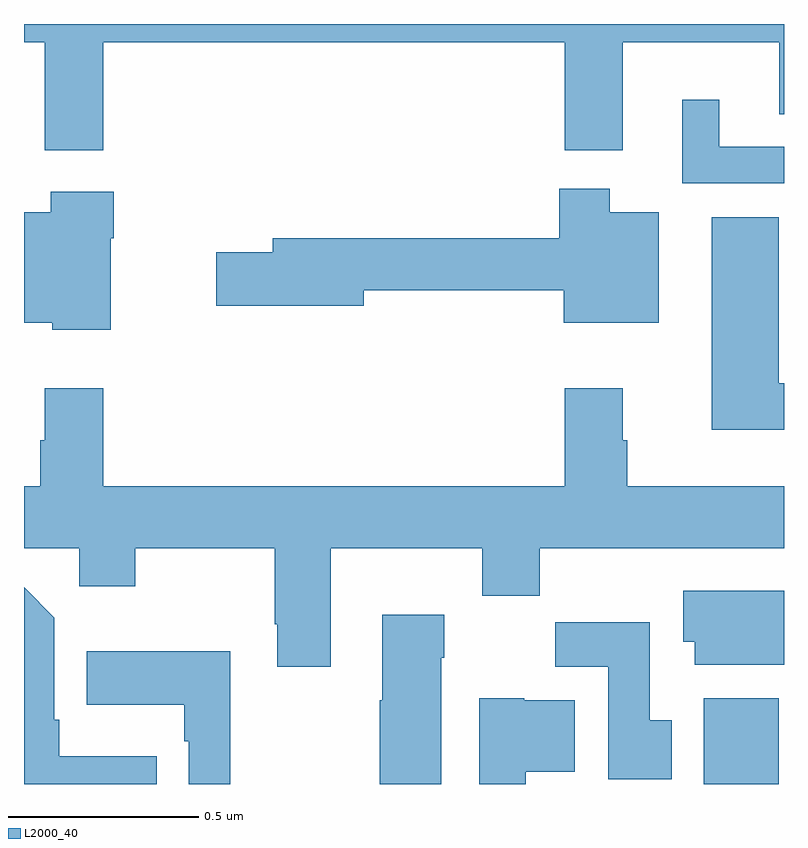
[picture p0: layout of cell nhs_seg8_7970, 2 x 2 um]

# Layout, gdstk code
import gdstk
lib = gdstk.Library(unit=1e-6, precision=1e-09)
def R(c, l, rs):  # rectangles x0, y0, x1, y1
    for r in rs: c.add(gdstk.rectangle(r[:2], r[2:], *l))
def P(c, l, *ps):  # polygons
    for p in ps: c.add(gdstk.Polygon(p, *l))
L2000_40 = (2000, 40)

nhs_seg8_7970 = lib.new_cell('nhs_seg8_7970')
R(nhs_seg8_7970, L2000_40, [(218.789,1095.9,218.986,1096.126)])
P(nhs_seg8_7970, L2000_40, [(217.208,1097.852),(218.423,1097.852),(218.423,1097.568),(218.575,1097.568),(218.575,1097.852),(218.987,1097.852),(218.987,1097.662),(219,1097.662),(219,1097.9),(217,1097.9),(217,1097.852),(217.055,1097.852),(217.055,1097.568),(217.208,1097.568)],
  [(219,1097.577),(218.83,1097.577),(218.83,1097.701),(218.732,1097.701),(218.732,1097.481),(219,1097.481)],
  [(218.671,1097.404),(218.542,1097.404),(218.542,1097.467),(218.408,1097.467),(218.408,1097.336),(217.655,1097.336),(217.655,1097.3),(217.506,1097.3),(217.506,1097.158),(217.894,1097.158),(217.894,1097.2),(218.42,1097.2),(218.42,1097.114),(218.671,1097.114)],
  [(217.228,1097.336),(217.236,1097.336),(217.236,1097.458),(217.07,1097.458),(217.07,1097.404),(217,1097.404),(217,1097.114),(217.074,1097.114),(217.074,1097.096),(217.228,1097.096)],
  [(219,1096.954),(218.986,1096.954),(218.986,1097.392),(218.81,1097.392),(218.81,1096.832),(219,1096.832)],
  [(217.055,1096.942),(217.055,1096.805),(217.043,1096.805),(217.043,1096.684),(217,1096.684),(217,1096.52),(217.146,1096.52),(217.146,1096.421),(217.293,1096.421),(217.293,1096.52),(217.66,1096.52),(217.66,1096.321),(217.667,1096.321),(217.667,1096.209),(217.807,1096.209),(217.807,1096.52),(218.206,1096.52),(218.206,1096.396),(218.357,1096.396),(218.357,1096.52),(219,1096.52),(219,1096.684),(218.588,1096.684),(218.588,1096.805),(218.575,1096.805),(218.575,1096.942),(218.423,1096.942),(218.423,1096.684),(217.208,1096.684),(217.208,1096.942)],
  [(217.349,1095.973),(217.093,1095.973),(217.093,1096.069),(217.08,1096.069),(217.08,1096.338),(217,1096.418),(217,1095.9),(217.349,1095.9)],
  [(219,1096.408),(218.735,1096.408),(218.735,1096.274),(218.765,1096.274),(218.765,1096.214),(219,1096.214)],
  [(218.098,1096.232),(218.106,1096.232),(218.106,1096.345),(217.943,1096.345),(217.943,1096.121),(217.936,1096.121),(217.936,1095.9),(218.098,1095.9)],
  [(218.704,1096.068),(218.647,1096.068),(218.647,1096.326),(218.398,1096.326),(218.398,1096.208),(218.537,1096.208),(218.537,1095.912),(218.704,1095.912)],
  [(217.543,1096.249),(217.165,1096.249),(217.165,1096.109),(217.422,1096.109),(217.422,1096.013),(217.434,1096.013),(217.434,1095.9),(217.543,1095.9)],
  [(218.32,1095.932),(218.449,1095.932),(218.449,1096.12),(218.316,1096.12),(218.316,1096.126),(218.198,1096.126),(218.198,1095.9),(218.32,1095.9)])

lib.write_gds('nhs_seg8_7970.gds')
